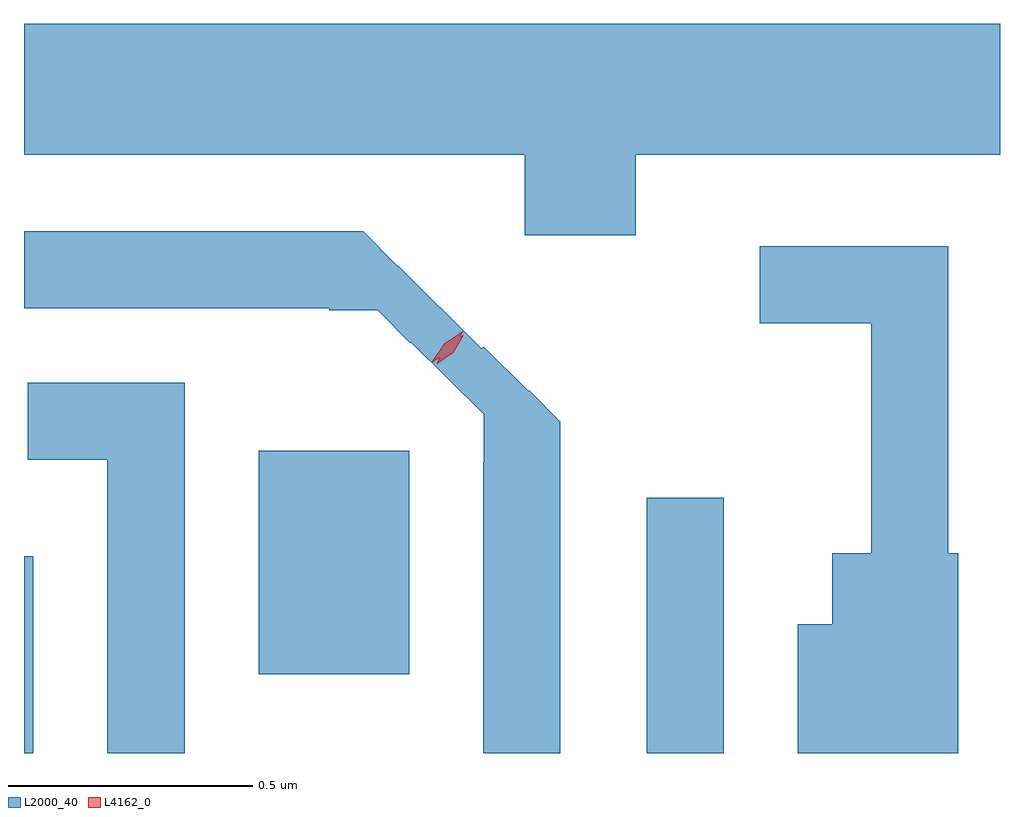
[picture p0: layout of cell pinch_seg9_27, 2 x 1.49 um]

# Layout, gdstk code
import gdstk
lib = gdstk.Library(unit=1e-6, precision=1e-09)
def R(c, l, rs):  # rectangles x0, y0, x1, y1
    for r in rs: c.add(gdstk.rectangle(r[:2], r[2:], *l))
def P(c, l, *ps):  # polygons
    for p in ps: c.add(gdstk.Polygon(p, *l))
L2000_40 = (2000, 40)
L4162_0 = (4162, 0)

pinch_seg9_27 = lib.new_cell('pinch_seg9_27')
R(pinch_seg9_27, L2000_40, [(1032.05,2012.79,1032.069,2013.193), (1033.326,2012.79,1033.484,2013.313), (1032.531,2012.951,1032.839,2013.409)])
P(pinch_seg9_27, L2000_40, [(1033.304,2014.016),(1034.05,2014.016),(1034.05,2014.284),(1032.05,2014.284),(1032.05,2014.016),(1033.076,2014.016),(1033.076,2013.851),(1033.304,2013.851)],
  [(1033.149,2013.469),(1033.085,2013.533),(1033.083,2013.532),(1032.992,2013.623),(1032.987,2013.619),(1032.817,2013.789),(1032.816,2013.788),(1032.745,2013.859),(1032.05,2013.859),(1032.05,2013.701),(1032.675,2013.701),(1032.675,2013.697),(1032.775,2013.697),(1032.842,2013.63),(1032.843,2013.632),(1032.992,2013.484),(1032.992,2013.385),(1032.991,2013.385),(1032.991,2012.79),(1033.149,2012.79)],
  [(1033.964,2013.199),(1033.944,2013.199),(1033.944,2013.829),(1033.558,2013.829),(1033.558,2013.671),(1033.786,2013.671),(1033.786,2013.199),(1033.706,2013.199),(1033.706,2013.054),(1033.636,2013.054),(1033.636,2012.79),(1033.964,2012.79)],
  [(1032.379,2013.549),(1032.058,2013.549),(1032.058,2013.391),(1032.221,2013.391),(1032.221,2012.79),(1032.379,2012.79)])
P(pinch_seg9_27, L4162_0, [(1032.886,2013.59),(1032.886,2013.591),(1032.911,2013.629),(1032.949,2013.654),(1032.95,2013.654),(1032.95,2013.654),(1032.925,2013.615),(1032.886,2013.59)],
  [(1032.896,2013.588),(1032.896,2013.589),(1032.916,2013.624),(1032.949,2013.646),(1032.95,2013.646),(1032.95,2013.645),(1032.93,2013.61),(1032.897,2013.588)])

lib.write_gds('pinch_seg9_27.gds')
